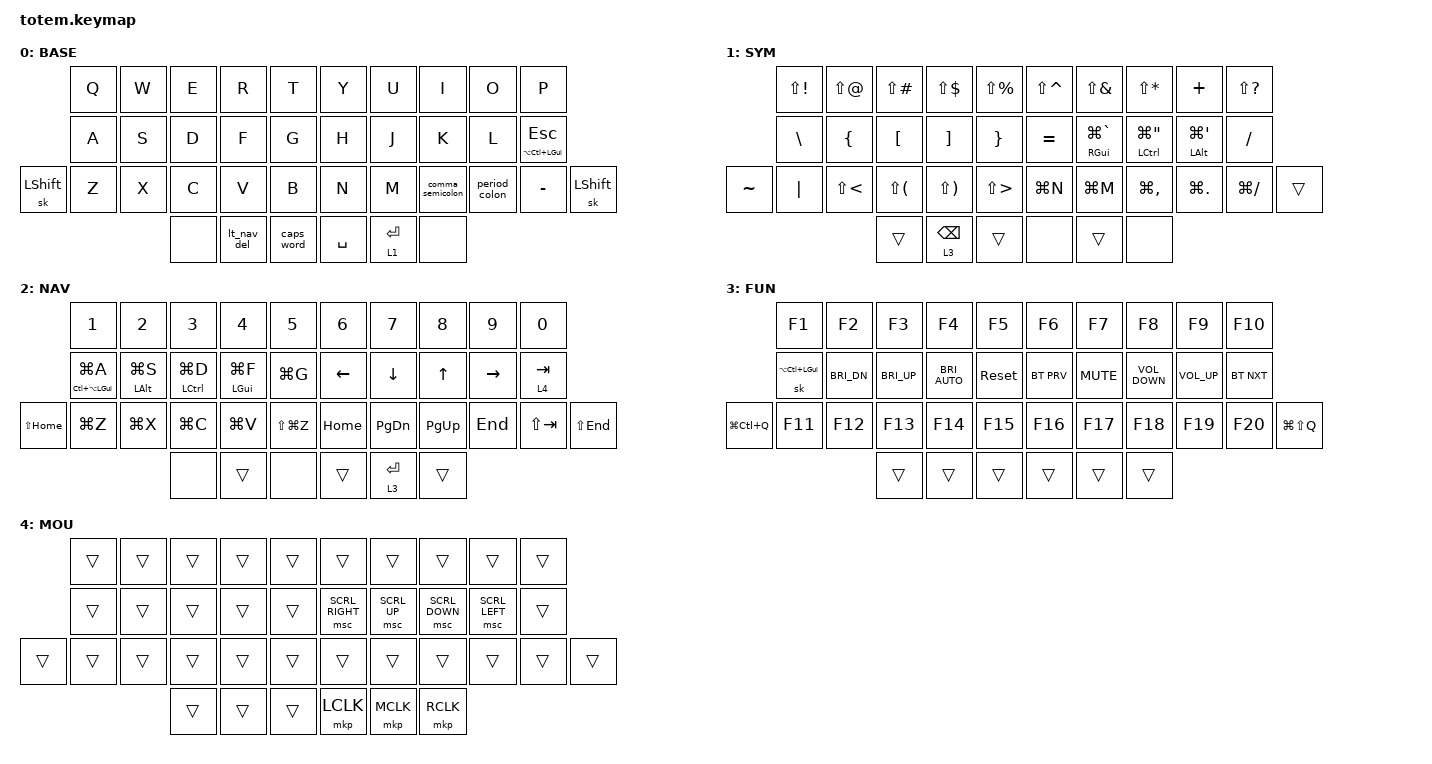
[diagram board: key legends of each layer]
//
//                                                        ▀▀▀▀▀     ▀▀▀▀▀          ▀▀█▀▀
//                                                        ▄▀▀▀▄  ▄  ▄▀▀▀▄  ▄  ▄▀▀▀▄  █  ▄▀▀▀▄
//                                                        █   █  █  █   █  █  █   █  █  █   █
//                                                         ▀▀▀   █   ▀▀▀   █   ▀▀▀   ▀   ▀▀▀
//                                                               █      ▄▄▄█▄▄▄    █   █  
//                                                               ▀      █  █  █     █▄█
//                                                             ▀▀▀▀▀    █  █  █      ▀
//                                                                      ▀  ▀  ▀
//
// ▄▄▄▄▄▄▄▄▄▄▄▄▄▄▄▄▄▄▄▄▄▄▄▄▄▄▄▄▄▄▄▄▄▄▄▄▄▄▄▄▄▄▄▄▄▄▄▄▄▄▄▄▄▄▄▄▄▄▄▄▄▄▄▄▄▄▄▄▄▄▄▄▄▄▄▄▄▄▄▄▄▄▄▄▄▄▄▄▄▄▄▄▄▄▄▄▄▄▄▄▄▄▄▄▄▄▄▄▄▄▄▄▄▄▄▄▄▄▄▄▄▄▄▄▄▄▄▄▄▄▄▄▄▄▄▄▄▄▄▄▄▄▄▄▄▄▄▄▄

#include <behaviors.dtsi>
#include <dt-bindings/zmk/bt.h>
#include <dt-bindings/zmk/keys.h>
#include <dt-bindings/zmk/pointing.h>

#define BASE 0
#define NAV  1
#define SYM  2
#define MOO  3

&caps_word { continue-list = <UNDERSCORE BACKSPACE DELETE LEFT_ARROW DOWN_ARROW UP_ARROW RIGHT_ARROW HOME END PAGE_DOWN PAGE_UP>; };

&mt { tapping-term-ms = <150>; };

&sk { quick-release; };

/ {
    combos {
        compatible = "zmk,combos";

        clear_bluetooth {
            bindings = <&bt BT_CLR>;
            key-positions = <20 31>;
        };

        delete_word_forward {
            bindings = <&delete_word>;
            key-positions = <16 17>;
            layers = <0>;
        };

        crbrace {
            bindings = <&rbrace>;
            key-positions = <23 24>;
        };

        csbrace {
            bindings = <&sbrace>;
            key-positions = <12 13>;
            layers = <1>;
        };

        ccbrace {
            bindings = <&cbrace>;
            key-positions = <14 11>;
            layers = <1>;
        };

        cabrace {
            bindings = <&abrace>;
            key-positions = <22 25>;
            layers = <1>;
        };
    };

    behaviors {
        double_quote: double_quote {
            compatible = "zmk,behavior-tap-dance";
            label = "DOUBLE_QUOTE";
            #binding-cells = <0>;
            bindings = <&kp DOUBLE_QUOTES>, <&dquote2>;
        };

        single_quote: single_quote {
            compatible = "zmk,behavior-tap-dance";
            label = "SINGLE_QUOTE";
            #binding-cells = <0>;
            bindings = <&kp SINGLE_QUOTE>, <&squote2>;
        };

        mt_left: mt_left {
            compatible = "zmk,behavior-hold-tap";
            label = "MT_LEFT";
            bindings = <&kp>, <&kp>;

            #binding-cells = <2>;
            flavor = "balanced";
            hold-trigger-on-release;
            hold-trigger-key-positions = <5 6 7 8 9 15 16 17 18 19 26 27 28 29 30 31 32 33 34 35 37 36>;
            require-prior-idle-ms = <100>;
            tapping-term-ms = <250>;
            quick-tap-ms = <150>;
        };

        mt_right: mt_right {
            compatible = "zmk,behavior-hold-tap";
            label = "MT_RIGHT";
            bindings = <&kp>, <&kp>;

            #binding-cells = <2>;
            flavor = "balanced";
            hold-trigger-on-release;
            require-prior-idle-ms = <100>;
            tapping-term-ms = <250>;
            hold-trigger-key-positions = <0 1 2 3 4 10 11 12 13 14 22 23 24 25 20 21 32 33 34 35 36 37>;
            quick-tap-ms = <150>;
        };

        comma_semicolon: comma_semicolon {
            compatible = "zmk,behavior-mod-morph";
            label = "COMMA_SEMICOLON";
            bindings = <&kp COMMA>, <&kp SEMICOLON>;

            #binding-cells = <0>;
            mods = <(MOD_LSFT|MOD_RSFT)>;
        };

        period_colon: period_colon {
            compatible = "zmk,behavior-mod-morph";
            label = "PERIOD_COLON";
            bindings = <&kp PERIOD>, <&kp COLON>;

            #binding-cells = <0>;
            mods = <(MOD_LSFT|MOD_RSFT)>;
        };

        cmd_tab: cmd_tab {
            compatible = "zmk,behavior-mod-morph";
            label = "CMD_TAB";
            bindings = <&kp TAB>, <&kp LA(LC(TAB))>;

            #binding-cells = <0>;
            mods = <(MOD_RGUI|MOD_LGUI)>;
            keep-mods = <(MOD_LSFT|MOD_RSFT)>;
        };

        scmd_tab: scmd_tab {
            compatible = "zmk,behavior-mod-morph";
            label = "SCMD_TAB";
            bindings = <&kp LS(TAB)>, <&kp LA(LC(LS(TAB)))>;

            #binding-cells = <0>;
            mods = <(MOD_RGUI|MOD_LGUI)>;
        };

        lt_nav_del: lt_nav_del {
            compatible = "zmk,behavior-mod-morph";
            label = "LT_NAV_DEL";
            bindings = <&lt 2 BACKSPACE>, <&lt 2 DELETE>;

            #binding-cells = <0>;
            mods = <(MOD_LSFT|MOD_RSFT)>;
            keep-mods = <(MOD_LALT|MOD_LGUI|MOD_LCTL|MOD_RCTL|MOD_RALT|MOD_RGUI)>;
        };

        quotes: quotes {
            compatible = "zmk,behavior-mod-morph";
            label = "QUOTES";
            bindings = <&mt RCTRL DOUBLE_QUOTES>, <&mt RCTRL SINGLE_QUOTE>;

            #binding-cells = <0>;
            mods = <(MOD_LSFT|MOD_RSFT)>;
            keep-mods = <(MOD_LCTL|MOD_LALT|MOD_LGUI|MOD_RCTL|MOD_RALT|MOD_RGUI)>;
        };

        delete_word: delete_word {
            compatible = "zmk,behavior-mod-morph";
            label = "DELETE_WORD";
            bindings = <&kp LA(BACKSPACE)>, <&kp LA(DELETE)>;

            #binding-cells = <0>;
            mods = <(MOD_LSFT|MOD_RSFT)>;
        };
    };

    macros {
        dquote2: dquote {
            compatible = "zmk,behavior-macro";
            #binding-cells = <0>;
            bindings = <&kp DOUBLE_QUOTES &kp DOUBLE_QUOTES &kp LEFT>;
            label = "DQUOTE";
        };

        squote2: squote {
            compatible = "zmk,behavior-macro";
            #binding-cells = <0>;
            bindings = <&kp SINGLE_QUOTE &kp SINGLE_QUOTE &kp LEFT>;
            label = "SQUOTE";
        };

        rbrace: lbrace {
            compatible = "zmk,behavior-macro";
            #binding-cells = <0>;
            bindings = <&kp LEFT_PARENTHESIS &kp RIGHT_PARENTHESIS &kp LEFT>;
            label = "LBRACE";
        };

        sbrace: rbrace {
            compatible = "zmk,behavior-macro";
            #binding-cells = <0>;
            bindings = <&kp LEFT_BRACKET &kp RIGHT_BRACKET &kp LEFT>;
            label = "RBRACE";
        };

        cbrace: cbrace {
            compatible = "zmk,behavior-macro";
            #binding-cells = <0>;
            bindings = <&kp LEFT_BRACE &kp RIGHT_BRACE &kp LEFT>;
            label = "CBRACE";
        };

        abrace: abrace {
            compatible = "zmk,behavior-macro";
            #binding-cells = <0>;
            bindings = <&kp LESS_THAN &kp GREATER_THAN &kp LEFT>;
            label = "ABRACE";
        };
    };

    keymap {
        compatible = "zmk,keymap";

        // ▄▄▄▄▄▄▄▄▄▄▄▄▄▄▄▄▄▄▄▄▄▄▄▄▄▄▄▄▄▄▄▄▄▄▄▄▄▄▄▄▄▄▄▄▄▄▄▄▄▄▄▄▄▄▄▄▄▄▄▄▄▄▄▄▄▄▄▄▄▄▄▄▄▄▄▄▄▄▄▄▄▄▄▄▄▄▄▄▄▄▄▄▄▄▄▄▄▄▄▄▄▄▄▄▄▄▄▄▄▄▄▄▄▄▄▄▄▄▄▄▄▄▄▄▄▄▄▄▄▄▄▄▄▄▄▄▄▄▄▄▄▄▄▄▄▄▄▄▄

        base {
            // ┏━━━━━━━━━━━━━━━━━━━━━━━━━━━━━━━━━━━━━━━┓

            label = "BASE";

            // ┗━━━━━━━━━━━━━━━━━━━━━━━━━━━━━━━━━━━━━━━┛
            //             ┏━━━━━━━━━━━┳━━━━━━━━━━━┳━━━━━━━━━━━┳━━━━━━━━━━━┳━━━━━━━━━━━┓   ┏━━━━━━━━━━━┳━━━━━━━━━━━┳━━━━━━━━━━━┳━━━━━━━━━━━┳━━━━━━━━━━━┓
            //             ┃     Q     ┃     W     ┃     E     ┃     R     ┃     T     ┃   ┃     Z     ┃     U     ┃     I     ┃     O     ┃     P     ┃
            //             ┣━━━━━━━━━━━╋━━━━━━━━━━━╋━━━━━━━━━━━╋━━━━━━━━━━━╋━━━━━━━━━━━┫   ┣━━━━━━━━━━━╋━━━━━━━━━━━╋━━━━━━━━━━━╋━━━━━━━━━━━╋━━━━━━━━━━━┫
            //             ┃     A     ┃     S     ┃     D     ┃     F     ┃     G     ┃   ┃     H     ┃     J     ┃     K     ┃     L     ┃     -     ┃
            // ┏━━━━━━━━━━━╋━━━━━━━━━━━╋━━━━━━━━━━━╋━━━━━━━━━━━╋━━━━━━━━━━━╋━━━━━━━━━━━┫   ┣━━━━━━━━━━━╋━━━━━━━━━━━╋━━━━━━━━━━━╋━━━━━━━━━━━╋━━━━━━━━━━━╋━━━━━━━━━━━┓
            // ┃           ┃     Y     ┃     X     ┃     C     ┃     V     ┃     B     ┃   ┃     N     ┃     M     ┃     ,     ┃     .     ┃    TAB    ┃           ┃
            // ┗━━━━━━━━━━━┻━━━━━━━━━━━┻━━━━━━━━━━━╋━━━━━━━━━━━╋━━━━━━━━━━━╋━━━━━━━━━━━┫   ┣━━━━━━━━━━━╋━━━━━━━━━━━╋━━━━━━━━━━━╋━━━━━━━━━━━┻━━━━━━━━━━━┻━━━━━━━━━━━┛
            //                                     ┃  SK SHFT  ┃    MO1    ┃    ESC    ┃   ┃   SPACE   ┃    MO2    ┃   ENTER   ┃
            //                                     ┗━━━━━━━━━━━┻━━━━━━━━━━━┻━━━━━━━━━━━┛   ┗━━━━━━━━━━━┻━━━━━━━━━━━┻━━━━━━━━━━━┛

            bindings = <
                &kp Q  &kp W  &kp E  &kp R        &kp T         &kp Y      &kp U         &kp I             &kp O          &kp P
                &kp A  &kp S  &kp D  &kp F        &kp G         &kp H      &kp J         &kp K             &kp L          &mt LA(LC(LEFT_GUI)) ESCAPE
&sk LEFT_SHIFT  &kp Z  &kp X  &kp C  &kp V        &kp B         &kp N      &kp M         &comma_semicolon  &period_colon  &kp MINUS                    &sk LEFT_SHIFT
                              &none  &lt_nav_del  &caps_word    &kp SPACE  &lt 1 RETURN  &none
            >;
        };

        symbol {
            bindings = <
           &kp LS(EXCL)   &kp LS(AT)      &kp LS(POUND)     &kp LS(DLLR)       &kp LS(PRCNT)      &kp LS(CARET)  &kp LS(AMPS)             &kp LS(STAR)                 &kp PLUS                   &kp LS(QMARK)
           &kp BACKSLASH  &kp LEFT_BRACE  &kp LEFT_BRACKET  &kp RIGHT_BRACKET  &kp RIGHT_BRACE    &kp EQUAL      &mt RIGHT_GUI LG(GRAVE)  &mt LCTRL LG(DOUBLE_QUOTES)  &mt LALT LG(SINGLE_QUOTE)  &kp SLASH
&kp TILDE  &kp PIPE       &kp LS(LT)      &kp LS(LPAR)      &kp LS(RPAR)       &kp LS(GT)         &kp LG(N)      &kp LG(M)                &kp LG(COMMA)                &kp LG(PERIOD)             &kp LG(SLASH)  &trans
                                          &trans            &lt 3 BACKSPACE    &trans             &none          &trans                   &none
            >;

            label = "SYM";
        };

        navigation {
            bindings = <
              &kp N1                      &kp N2          &kp N3           &kp N4          &kp N5           &kp N6    &kp N7       &kp N8     &kp N9     &kp N0
              &mt LC(LA(LEFT_GUI)) LG(A)  &mt LALT LG(S)  &mt LCTRL LG(D)  &mt LGUI LG(F)  &kp LG(G)        &kp LEFT  &kp DOWN     &kp UP     &kp RIGHT  &lt 4 TAB
&kp LS(HOME)  &kp LG(Z)                   &kp LG(X)       &kp LG(C)        &kp LG(V)       &kp LS(LG(Z))    &kp HOME  &kp PG_DN    &kp PG_UP  &kp END    &kp LS(TAB)  &kp LS(END)
                                                          &none            &trans          &none            &trans    &lt 3 ENTER  &trans
            >;

            label = "NAV";
        };

        function {
            bindings = <
               &kp F1                &kp F2        &kp F3        &kp F4                 &kp F5        &kp F6      &kp F7      &kp F8             &kp F9        &kp F10
               &sk LA(LC(LEFT_GUI))  &kp C_BRI_DN  &kp C_BRI_UP  &kp C_BRIGHTNESS_AUTO  &sys_reset    &bt BT_PRV  &kp K_MUTE  &kp C_VOLUME_DOWN  &kp C_VOL_UP  &bt BT_NXT
&kp LG(LC(Q))  &kp F11               &kp F12       &kp F13       &kp F14                &kp F15       &kp F16     &kp F17     &kp F18            &kp F19       &kp F20     &kp LG(LS(Q))
                                                   &trans        &trans                 &trans        &trans      &trans      &trans
            >;

            label = "FUN";
        };

        mouse {
            bindings = <
        &trans  &trans  &trans  &trans  &trans    &trans           &trans        &trans          &trans          &trans
        &trans  &trans  &trans  &trans  &trans    &msc SCRL_RIGHT  &msc SCRL_UP  &msc SCRL_DOWN  &msc SCRL_LEFT  &trans
&trans  &trans  &trans  &trans  &trans  &trans    &trans           &trans        &trans          &trans          &trans  &trans
                        &trans  &trans  &trans    &mkp LCLK        &mkp MCLK     &mkp RCLK
            >;

            label = "MOU";
        };
    };
};
